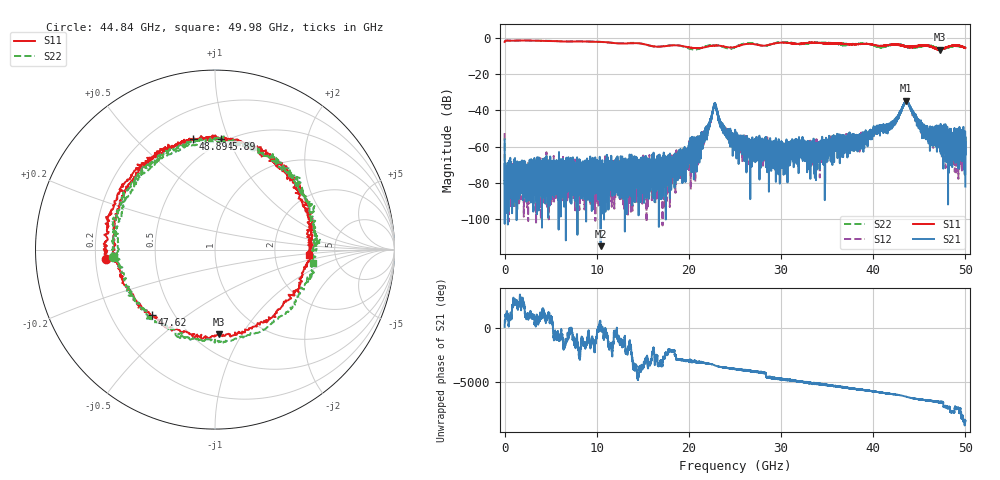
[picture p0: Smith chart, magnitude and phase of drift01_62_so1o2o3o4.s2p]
!Created with skrf (http://scikit-rf.org).
# Hz S RI R 50.0
!freq ReS11 ImS11 ReS21 ImS21 ReS12 ImS12 ReS22 ImS22
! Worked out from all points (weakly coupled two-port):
!   10001 points, 300 kHz to 50 GHz, reference 50 ohm
!   highest |S21| = -34.62 dB at 43.53 GHz (marker M1); lowest = -114.9 dB at 10.43 GHz (marker M2)
!   lowest |S11| = -6.5 dB at 47.28 GHz (marker M3), VSWR 2.79, Z = 32.9 - j40 ohm
!   |S11| at or under -10 dB: nowhere
!   |S22| runs from -6.4 to -1.4 dB; largest |S21 - S12| = 0.0037
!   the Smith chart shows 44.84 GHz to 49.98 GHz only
!   S11 on the Smith chart (normalised r, x): 44.84 GHz: 0.25, -0.04; 45.89 GHz: 0.47, +0.94; 47.62 GHz: 0.38, -0.37; 48.89 GHz: 0.37, +0.75; 49.98 GHz: 3.20, -0.27
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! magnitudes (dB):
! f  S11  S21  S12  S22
! 300 kHz  -2.2  -56.0  -52.6  -2.2
! 320.3 MHz  -1.4  -73.1  -82.9  -1.4
! 8.335 GHz  -1.9  -83.2  -80.3  -1.8
! 10.43 GHz  -2.2  -114.9  -79.9  -2.1
! 16.67 GHz  -4.8  -65.6  -69.8  -4.8
! 21.06 GHz  -5.6  -59.6  -57.5  -6.0
! 21.92 GHz  -4.8  -50.9  -53.0  -4.5
! 22.79 GHz  -4.3  -36.5  -36.4  -4.0
! 23.82 GHz  -4.7  -52.0  -50.8  -5.1
! 25 GHz  -5.0  -55.4  -57.2  -5.0
! 29.68 GHz  -2.7  -60.9  -64.9  -2.5
! 33.34 GHz  -2.6  -62.4  -63.5  -2.7
! 41.67 GHz  -3.9  -47.5  -49.7  -3.9
! 43.53 GHz  -4.7  -34.6  -35.1  -4.7
! 44.84 GHz  -4.3  -46.1  -45.5  -4.9
! 45.89 GHz  -4.2  -50.7  -52.3  -4.2
! 47.28 GHz  -6.5  -54.4  -55.7  -5.8
! 47.62 GHz  -5.9  -56.0  -56.7  -5.9
! 48.89 GHz  -4.1  -56.3  -59.5  -4.6
! 49.75 GHz  -5.0  -59.1  -58.9  -5.0
! 49.98 GHz  -5.6  -54.6  -58.6  -5.2
! 50 GHz  -5.5  -82.0  -62.0  -5.2
